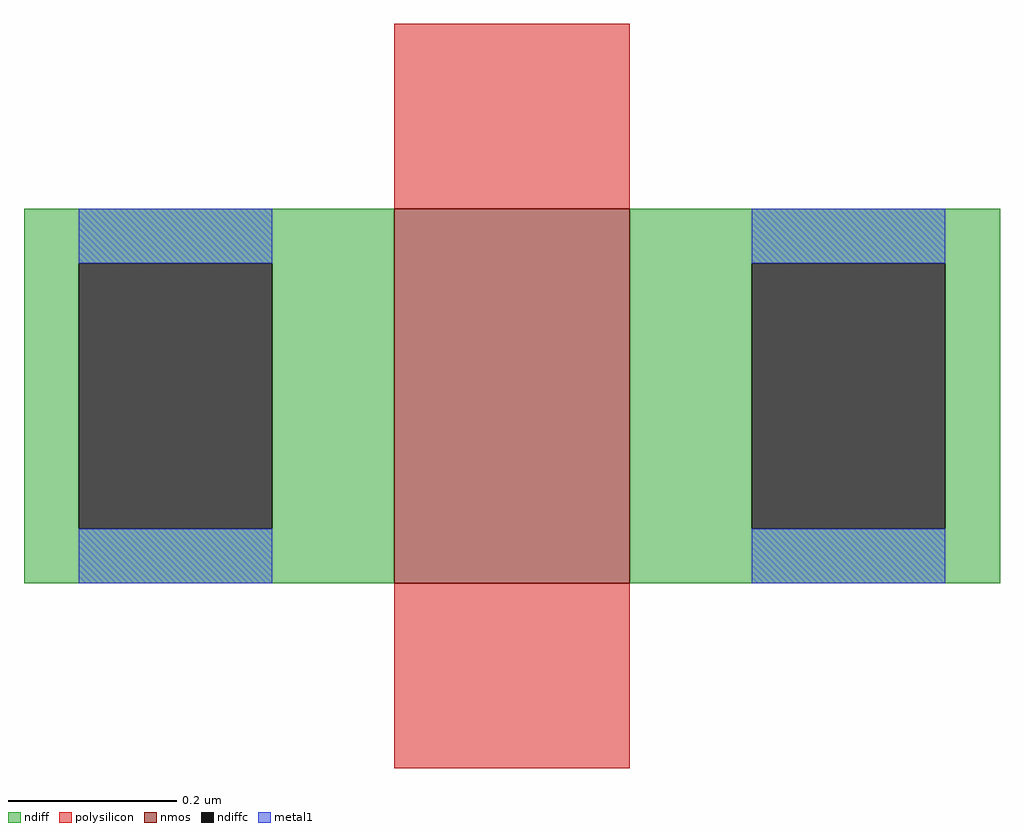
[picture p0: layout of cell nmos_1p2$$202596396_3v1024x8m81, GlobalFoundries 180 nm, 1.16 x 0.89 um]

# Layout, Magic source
magic
tech gf180mcuD
magscale 1 10
<< polysilicon >>
rect -14 89 41 123
rect -14 -34 41 0
use nmos_5p0431059130208_3v1024x8m81  nmos_5p0431059130208_3v1024x8m81_0
transform 1 0 -14 0 1 0
box -88 -44 144 133
<< end >>

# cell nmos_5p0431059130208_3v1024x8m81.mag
magic
tech gf180mcuD
magscale 1 10
<< nmos >>
rect 0 0 56 89
<< ndiff >>
rect -88 76 0 89
rect -88 13 -75 76
rect -29 13 0 76
rect -88 0 0 13
rect 56 76 144 89
rect 56 13 85 76
rect 131 13 144 76
rect 56 0 144 13
<< ndiffc >>
rect -75 13 -29 76
rect 85 13 131 76
<< polysilicon >>
rect 0 89 56 133
rect 0 -44 56 0
<< metal1 >>
rect -75 76 -29 89
rect -75 0 -29 13
rect 85 76 131 89
rect 85 0 131 13
<< labels >>
flabel ndiffc -40 44 -40 44 0 FreeSans 93 0 0 0 S
flabel ndiffc 96 44 96 44 0 FreeSans 93 0 0 0 D
<< end >>
